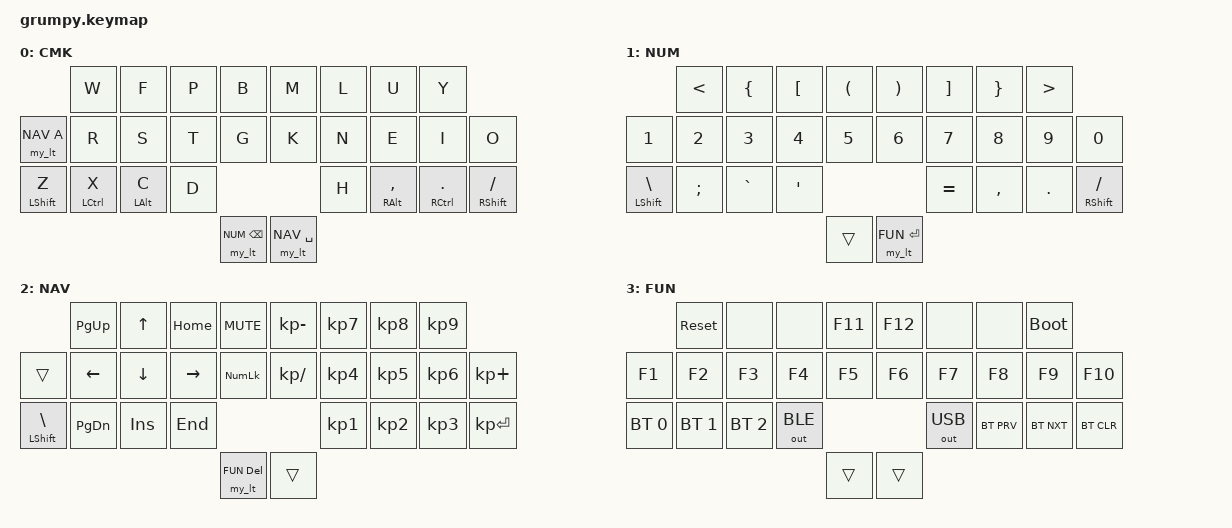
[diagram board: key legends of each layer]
#include <behaviors.dtsi>
#include <dt-bindings/zmk/keys.h>
#include <dt-bindings/zmk/bt.h>
#include <dt-bindings/zmk/outputs.h>

#define CMK 0
#define NUM 1
#define NAV 2
#define FUN 3

// #define BT(n) BT_SEL n

// &lt {
//     quick_tap_ms = <170>;
// };

&caps_word {
    continue-list = <UNDERSCORE MINUS BSPC LSHFT RSHFT>;
};

/ {
    macros {
        macro_sch: macro_sch {
            label = "Macro_SCH";
            compatible = "zmk,behavior-macro";
            #binding-cells = <0>;
            bindings = <&macro_tap &kp S &kp C &kp H>;
        };
    };
};

#define COMBO(NAME, BINDINGS, KEYPOS) \
combo_##NAME { \
    timeout-ms = <20>; \
    bindings = <BINDINGS>; \
    key-positions = <KEYPOS>; \
};

#define COMBO_LAY(NAME, BINDINGS, KEYPOS, LAYERS) \
combo_##NAME { \
    timeout-ms = <20>; \
    bindings = <BINDINGS>; \
    key-positions = <KEYPOS>; \
    layers = <LAYERS>; \
};

/ {
    combos {
        compatible = "zmk,combos";
/* usually on base layer */
        COMBO_LAY(q, &kp Q, 0 1, 0)
        COMBO_LAY(j, &kp J, 4 5, 0)
        COMBO_LAY(v, &kp V, 12 21, 0)
        COMBO_LAY(semi, &my_lt NUM SEMI, 6 7, 0)
        COMBO_LAY(gui, &hm LGUI SQT, 21 26, 0)
        COMBO_LAY(tab, &kp TAB, 8 9, 0)
        COMBO_LAY(tab2, &kp TAB, 22 27, 0)
/* ALL layer */
        COMBO(esc, &kp ESC, 0 8)
/* Number Layer Specials */
        COMBO_LAY(dash, &kp MINUS, 22 23, 1)
/* NAV Layer Specials */
        COMBO_LAY(aster, &kp KP_ASTERISK, 4 13, 2)
        COMBO_LAY(num0, &kp KP_N0, 22 23, 2)
        COMBO_LAY(numdot, &kp KP_DOT, 23 24, 2)
    };
};

//   ____________________________  ____________________________
//  /       0  |  1  |  2  |  3  \/   4 |   5 |   6 |   7      \
// |  8  |  9  | 10  | 11  | 12  /\  13 |  14 |  15 |  16 | 17  |
// | 18  | 19  | 20  | 21       /  \       22 |  23 |  24 | 25  |
//                      \  26  /    \  27  /
//                       ------      ------

/ {

    behaviors {
        hl: homerow_mods_left {
            compatible = "zmk,behavior-hold-tap";
            label = "homerow mods left";
            #binding-cells = <2>;
            flavor = "tap-preferred";
            // flavor = "balanced";
            tapping-term-ms = <175>;
            quick-tap-ms = <100>;
            // global-quick-tap;
            bindings = <&kp>, <&kp>;
            // opposite side hand keys
            hold-trigger-key-positions = <4 5 6 7 13 14 15 16 17 22 23 24 25 26 27>;
        };
        hr: homerow_mods_right {
            compatible = "zmk,behavior-hold-tap";
            label = "homerow mods right";
            #binding-cells = <2>;
            flavor = "tap-preferred";
            // flavor = "balanced";
            tapping-term-ms = <175>;
            quick-tap-ms = <100>;
            // global-quick-tap;
            bindings = <&kp>, <&kp>;
            // opposite side hand keys
            hold-trigger-key-positions = <0 1 2 3 8 9 10 11 12 18 19 20 21 26 27>;
        };
        hm: homerow_mods {
            compatible = "zmk,behavior-hold-tap";
            label = "homerow mods";
            #binding-cells = <2>;
            tapping-term-ms = <175>;
            flavor = "tap-preferred";
            bindings = <&kp>, <&kp>;
        };

        my_lt: my_layer_taps {
            compatible = "zmk,behavior-hold-tap";
            label = "my layer taps";
            #binding-cells = <2>;
            // flavor = "tap-preferred";
            flavor = "balanced";
            tapping-term-ms = <175>;
            quick-tap-ms = <200>;
            // global-quick-tap;
            bindings = <&mo &kp>, <&kp>;
            // non-thumb keys
            // hold-trigger-key-positions = <0 1 2 3 4 5 6 7 8 9 10 11 12 13 14 15 16 17 18 19 20 21 22 23 24 25>;
        };
//   ____________________________  ____________________________
//  /       0  |  1  |  2  |  3  \/   4 |   5 |   6 |   7      \
// |  8  |  9  | 10  | 11  | 12  /\  13 |  14 |  15 |  16 | 17  |
// | 18  | 19  | 20  | 21       /  \       22 |  23 |  24 | 25  |
//                      \  26  /    \  27  /
//                       ------      ------


        dotcol: dot_colon {
            compatible = "zmk,behavior-mod-morph";
            label = "DOT_COL";
            #binding-cells = <0>;
            bindings = <&kp DOT>, <&kp COLON>;
            mods = <(MOD_LSFT|MOD_RSFT)>;
        };
        comsem: comma_semicolon {
            compatible = "zmk,behavior-mod-morph";
            label = "COM_SEM";
            #binding-cells = <0>;
            bindings = <&kp COMMA>, <&kp SEMI>;
            mods = <(MOD_LSFT|MOD_RSFT)>;
        };
    };
};


//   ____________________________  ____________________________
//  /       0  |  1  |  2  |  3  \/   4 |   5 |   6 |   7      \
// |  8  |  9  | 10  | 11  | 12  /\  13 |  14 |  15 |  16 | 17  |
// | 19  | 19  | 20  | 21       /  \       22 |  23 |  24 | 25  |
//                      \  26  /    \  27  /
//                       ------      ------

/ {

    keymap {
        compatible = "zmk,keymap";

        colemak {
            label = "CMK";

            bindings = <
                               &kp W          &kp F          &kp P          &kp B          &kp M          &kp L          &kp U          &kp Y
                &my_lt NAV A   &kp R          &kp S          &kp T          &kp G          &kp K          &kp N          &kp E          &kp I           &kp O
                &hm LSHFT Z    &hm LCTRL X    &hm LALT C     &kp D                                        &kp H          &hm RALT COMMA &hm RCTRL DOT   &hm RSHFT FSLH
                                                                        &my_lt NUM BSPC       &my_lt NAV SPACE
            >;
        };
        numbers {
            label = "NUM";

            bindings = <
                               &kp LT         &kp LBRC       &kp LBKT       &kp LPAR       &kp RPAR       &kp RBKT       &kp RBRC       &kp GT
                &kp N1         &kp N2         &kp N3         &kp N4         &kp N5         &kp N6         &kp N7         &kp N8         &kp N9          &kp N0
                &hm LSHFT BSLH &kp SEMI       &kp GRAVE      &kp SQT                                      &kp EQUAL      &kp COMMA      &kp DOT         &hm RSHFT FSLH
                                                                        &trans                &my_lt FUN ENTER
            >;
        };
        navigation {
            label = "NAV";

            bindings = <
                               &kp PG_UP      &kp UP         &kp HOME       &kp C_MUTE     &kp KP_MINUS   &kp KP_N7      &kp KP_N8      &kp KP_N9
                &trans         &kp LEFT       &kp DOWN       &kp RIGHT      &kp KP_NUMLOCK &kp KP_SLASH   &kp KP_N4      &kp KP_N5      &kp KP_N6       &kp KP_PLUS
                &hm LSHFT BSLH &kp PG_DN      &kp INSERT     &kp END                                      &kp KP_N1      &kp KP_N2      &kp KP_N3       &kp KP_ENTER
                                                                        &my_lt FUN DEL        &trans
            >;
        };
        function {
            label = "FUN";

            bindings = <
                               &sys_reset     &none          &none          &kp F11        &kp F12        &none          &none          &bootloader
                &kp F1         &kp F2         &kp F3         &kp F4         &kp F5         &kp F6         &kp F7         &kp F8         &kp F9          &kp F10
                &bt BT_SEL 0   &bt BT_SEL 1   &bt BT_SEL 2   &out OUT_BLE                                 &out OUT_USB   &bt BT_PRV     &bt BT_NXT      &bt BT_CLR
                                                                        &trans                &trans
            >;
        };

    };
};
